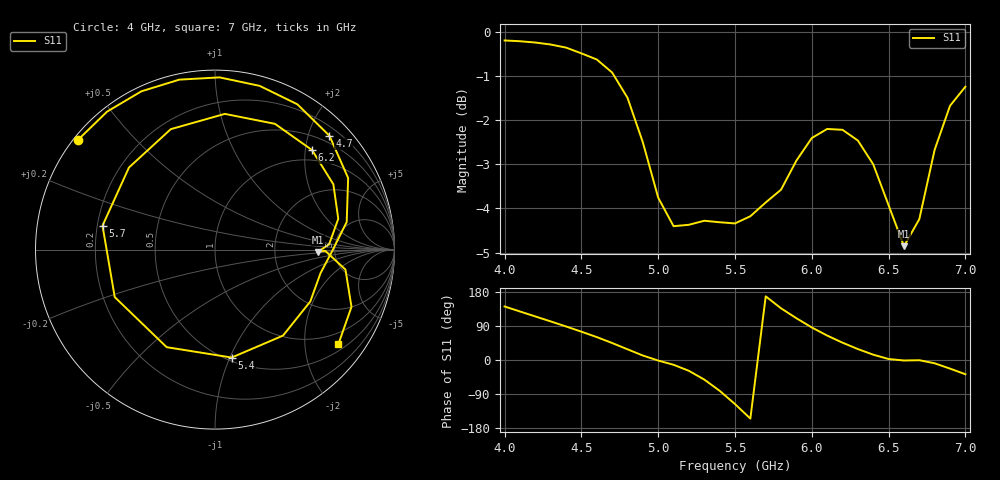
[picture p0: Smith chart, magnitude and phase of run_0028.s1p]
! Touchstone file exported from HFSS 2024.2.0
!  File:  C:/Users/wsak9/Desktop/Sim Fast/Widenad Patch/WP_AI_V1_sweep.aedt
!  Generated:  03:55:02 PM Oct 13, 2026
!  Design:  A1_model
!  Project:  WP_AI_V1_sweep
!  Setup:  Setup1
!  Solution:  Sweep
! Variables:
!  Air_gap = 1.91mm
!  Curve_Amp1 = 2.27
!  Curve_len1 = 1
!  Curve_pos = 10.25mm
!  Extra = 3.14mm
!  H_sub = 0.79mm
!  L_Patch = 16.5mm
!  L_Patch1 = 14.23mm
!  Sx = 3.08mm
!  Sy = 0.36mm
!  WS = 0.66mm
!  W_Patch = 20.58mm
!  W_Patch1 = 11.09mm
!Data is not renormalized
# GHz S MA
! Terminal data exported
! Port[1] = 1
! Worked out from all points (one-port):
!   31 points, 4 GHz to 7 GHz, reference per port
!   lowest |S11| = -4.9 dB at 6.6 GHz (marker M1), VSWR 3.67
!   |S11| at or under -10 dB: nowhere
!   S11 on the Smith chart (normalised r, x): 4 GHz: 0.01, +0.35; 4.7 GHz: 0.36, +2.38; 5.4 GHz: 0.53, -1.02; 5.7 GHz: 0.22, +0.10; 6.2 GHz: 0.77, +2.14; 7 GHz: 0.66, -2.80
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4  0.9779 141.3
4.2  0.9726 115.0
4.4  0.9598 88.5
4.5  0.9455 74.7
4.6  0.9306 60.5
4.7  0.8995 44.9
4.8  0.8421 28.3
4.9  0.7497 11.8
5.1  0.6023 -12.6
5.2  0.6045 -28.6
5.3  0.6109 -51.7
5.4  0.6085 -81.2
5.5  0.6067 -116.3
5.6  0.6181 -154.6
5.7  0.6408 168.0
5.8  0.6626 136.3
5.9  0.7148 110.2
6  0.7581 85.8
6.1  0.7762 64.5
6.2  0.7745 45.7
6.3  0.7532 28.9
6.4  0.7078 14.0
6.5  0.6362 2.6
6.6  0.5717 -1.3
6.7  0.6135 -0.6
6.8  0.7354 -8.7
6.9  0.8247 -22.8
7  0.8667 -37.6
